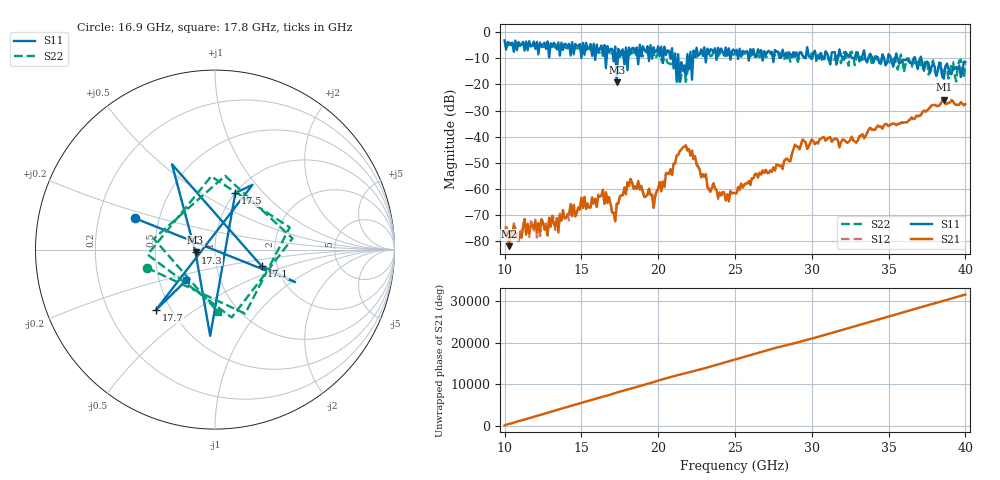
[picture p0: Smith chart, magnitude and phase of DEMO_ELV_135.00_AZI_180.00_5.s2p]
! 11/3/2026 12:34:36 PM
! C:\ANRITSUVNA\TEMP\TEMP.S2P
! CHANNEL.1
! TR.MEASUREMENT
! RAW.DATA
# HZ S RI R 50.0
! FREQ.HZ  S11RE  S11IM  S21RE  S21IM  S12RE  S12IM  S22RE  S22IM
!; PortSelection: Port_12
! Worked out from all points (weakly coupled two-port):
!   301 points, 10 GHz to 40 GHz, reference 50 ohm
!   highest |S21| = -25.78 dB at 38.6 GHz (marker M1); lowest = -81.9 dB at 10.3 GHz (marker M2)
!   lowest |S11| = -19.2 dB at 17.3 GHz (marker M3), VSWR 1.25, Z = 40.2 - j1.31 ohm
!   |S11| at or under -10 dB: 21.32 GHz to 21.88 GHz (565.4 MHz wide, 2.62 % of centre); 35.58 GHz to 36.65 GHz (1.071 GHz wide, 2.96 % of centre); 37.12 GHz to end of sweep (the widest 3 of 40)
!   |S22| runs from -20.0 to -4.7 dB; largest |S21 - S12| = 0.064
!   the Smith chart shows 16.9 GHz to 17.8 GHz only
!   S11 on the Smith chart (normalised r, x): 16.9 GHz: 0.36, +0.16; 17.1 GHz: 1.66, -0.33; 17.3 GHz: 0.80, -0.03; 17.5 GHz: 1.00, +0.71; 17.7 GHz: 0.41, -0.36; 17.8 GHz: 0.69, -0.25
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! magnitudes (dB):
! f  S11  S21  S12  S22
! 10 GHz  -3.2  -76.7  -77.5  -4.7
! 10.3 GHz  -4.1  -81.9  -77.5  -4.8
! 13.5 GHz  -3.9  -76.7  -74.1  -5.5
! 15 GHz  -9.9  -63.3  -64.1  -6.5
! 16.9 GHz  -6.4  -65.8  -65.5  -8.1
! 17.1 GHz  -11.2  -69.0  -69.5  -7.2
! 17.2 GHz  -5.5  -72.4  -72.0  -7.8
! 17.3 GHz  -19.2  -65.6  -66.2  -8.5
! 17.4 GHz  -6.4  -65.7  -65.6  -8.2
! 17.5 GHz  -9.5  -63.2  -62.9  -7.2
! 17.7 GHz  -6.5  -62.4  -62.5  -9.2
! 17.8 GHz  -12.6  -59.5  -59.5  -9.2
! 20 GHz  -5.4  -59.8  -60.3  -7.8
! 21.8 GHz  -16.9  -43.3  -43.5  -19.0
! 22.1 GHz  -7.5  -47.3  -47.0  -11.3
! 22.2 GHz  -18.2  -45.3  -45.6  -11.9
! 22.5 GHz  -5.9  -50.5  -50.9  -9.4
! 25 GHz  -7.5  -61.7  -61.6  -8.3
! 30 GHz  -10.3  -41.1  -41.1  -8.0
! 35 GHz  -8.4  -36.0  -35.9  -11.0
! 38.6 GHz  -17.8  -25.8  -25.8  -14.8
! 40 GHz  -11.5  -27.5  -27.5  -12.1
